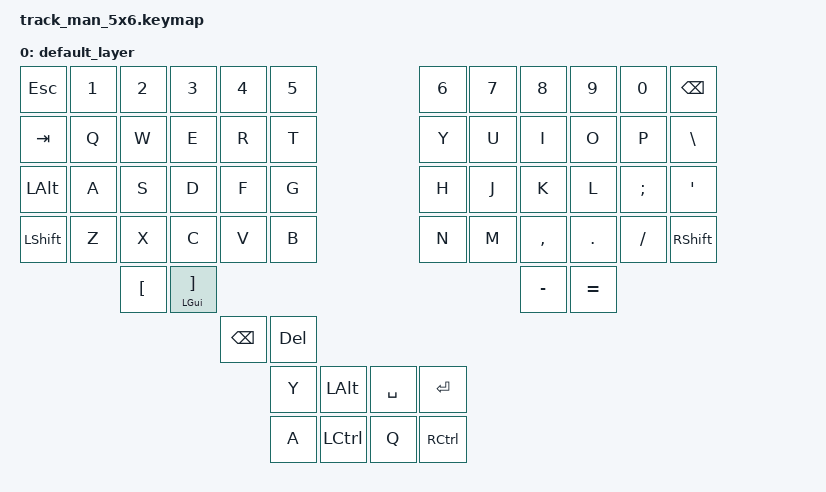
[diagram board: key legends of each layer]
#include <behaviors.dtsi>
#include <dt-bindings/zmk/keys.h>
#include <dt-bindings/zmk/bt.h>
#include <dt-bindings/zmk/outputs.h>

#define DEFAULT 0
#define RAISE   1
#define LOWER   2

/ {
    keymap {
        compatible = "zmk,keymap";


//RC(0,0) RC(0,1) RC(0,2) RC(0,3) RC(0,4) RC(0,5)                   RC(0,11) RC(0,10) RC(0,9) RC(0,8) RC(0,7) RC(0,6)
//RC(1,0) RC(1,1) RC(1,2) RC(1,3) RC(1,4) RC(1,5)                   RC(1,11) RC(1,10) RC(1,9) RC(1,8) RC(1,7) RC(1,6)
//RC(2,0) RC(2,1) RC(2,2) RC(2,3) RC(2,4) RC(2,5)                   RC(2,11) RC(2,10) RC(2,9) RC(2,8) RC(2,7) RC(2,6)
//RC(3,0) RC(3,1) RC(3,2) RC(3,3) RC(3,4) RC(3,5)                   RC(3,11) RC(3,10) RC(3,9) RC(3,8) RC(3,7) RC(3,6)
//                RC(4,2) RC(4,3)                                                     RC(4,9) RC(4,8)
//                                RC(4,4) RC(4,5) //                                        RC(5,4) RC(5,5)  RC(5,11) RC(5,10)
//                                        RC(5,2) RC(5,3)  RC(5,8)  RC(5,9)

        default_layer {
// Commented layout is not actual layout.
// -------------------------------------------------------------------------------------------------------------------------
// |   ESC   |    1    |    2    |    3    |    4    |    5    |                   |    6    |    7    |    8    |    9    |    0    |  BSPC   |
// |   TAB   |    Q    |    W    |    E    |    R    |    T    |                   |    Y    |    U    |    I    |    O    |    P    |    \    |
// |  LALT   |    A    |    S    |    D    |    F    |    G    |                   |    H    |    J    |    K    |    L    |    ;    |    '    |
// |  LCTRL  |    Z    |    X    |    C    |    V    |    B    |                   |    N    |    M    |    ,    |    .    |    /    |  RALT   |
//                     |    [    |    ]    |                                                           |    -    |    =    |
//                               | MO lay 1| SPACE   |                   | ENTER   | MO lay 2|
//                                         |   TAB   |   HOME  |   END   |   DEL   |
//                                         |  Raise  |    ~    |   GUI   |  Lower  |
            bindings = <
&kp ESC    &kp N1     &kp N2    &kp N3     &kp N4     &kp N5                          &kp N6     &kp N7     &kp N8     &kp N9     &kp N0         &kp BSPC
&kp TAB    &kp Q      &kp W     &kp E      &kp R      &kp T                           &kp Y      &kp U      &kp I      &kp O      &kp P          &kp BSLH
&kp LALT   &kp A      &kp S     &kp D      &kp F      &kp G                           &kp H      &kp J      &kp K      &kp L      &kp SEMI       &kp SQT
&kp LSHIFT &kp Z      &kp X     &kp C      &kp V      &kp B                           &kp N      &kp M      &kp COMMA  &kp DOT    &kp FSLH       &kp RSHIFT
                      &kp LBKT  &mt LGUI RBKT                                                               &kp MINUS  &kp EQUAL
                                           &kp BSPC   &kp DEL
                                                      &kp Y  &kp LALT     &kp SPACE   &kp RET
                                                      &kp A  &kp LCTRL    &kp Q       &kp RCTRL
            >;
        };

//        raise {
//// commented layout is not actual layout.
//// -------------------------------------------------------------------------------------------------------------------------
//// |   esc   |    1    |    2    |    3    |    4    |    5    |                   |    6    |    7    |    8    |    9    |    0    |  bspc   |
//// |   tab   |    q    |    w    |    e    |    r    |    t    |                   |    y    |    u    |    i    |    o    |    p    |    \    |
//// |  lalt   |    a    |    s    |    d    |    f    |    g    |                   |    h    |    j    |    k    |    l    |    ;    |    '    |
//// |  lctrl  |    z    |    x    |    c    |    v    |    b    |                   |    n    |    m    |    ,    |    .    |    /    |  ralt   |
////                     |    [    |    ]    |                                                           |    -    |    =    |
////                               | mo lay 1| space   |                   | enter   | mo lay 2|
////                                         |   tab   |   home  |   end   |   del   |
////                                         |  raise  |    ~    |   gui   |  lower  |
//            bindings = <
//&bt BT_SEL 0 &kp F1     &kp F2    &kp F3     &kp F4     &kp F5                          &kp F6        &kp F7     &kp F8     &kp F9     &kp F10        &kp F11
//&bt BT_NXT   &trans     &trans    &trans     &trans     &kp LBKT                        &kp RBKT      &kp 7      &kp 8      &kp 9      &trans         &kp F12
//&bt BT_PRV   &kp HOME   &kp PG_UP &kp PG_DN  &kp END    &kp LPAR                        &kp RPAR      &kp 4      &kp 5      &kp 6      &kp MINUS      &kp PIPE
//&bt BT_CLR   &trans     &trans    &trans     &trans     &reset                          &bootloader   &kp 1      &kp 2      &kp 3      &kp FSLH       &kp UNDER
//                        &trans    &kp PSCRN                                                                      &trans     &trans
//                                             &trans     &trans                          &trans        &trans
//                                                        &trans &trans            &trans &trans
//                                                        &trans &trans            &trans &trans
//            >;
//        };
//
//        lower {
//// commented layout is not actual layout.
//// -------------------------------------------------------------------------------------------------------------------------
//// |   esc   |    1    |    2    |    3    |    4    |    5    |                   |    6    |    7    |    8    |    9    |    0    |  bspc   |
//// |   tab   |    q    |    w    |    e    |    r    |    t    |                   |    y    |    u    |    i    |    o    |    p    |    \    |
//// |  lalt   |    a    |    s    |    d    |    f    |    g    |                   |    h    |    j    |    k    |    l    |    ;    |    '    |
//// |  lctrl  |    z    |    x    |    c    |    v    |    b    |                   |    n    |    m    |    ,    |    .    |    /    |  ralt   |
////                     |    [    |    ]    |                                                           |    -    |    =    |
////                               | mo lay 1| space   |                   | enter   | mo lay 2|
////                                         |   tab   |   home  |   end   |   del   |
////                                         |  raise  |    ~    |   gui   |  lower  |
//            bindings = <
//&kp GRAVE  &kp F1     &kp F2     &kp F3     &kp F4     &kp F5                          &kp F6     &kp F7     &kp F8     &kp F9     &kp F10     &kp F11
//&trans     &trans     &kp K_PREV &kp K_PP   &kp K_NEXT &kp C_VOL_UP                    &kp K_CALC &kp KP_NUM &kp INS    &kp SLCK   &trans      &kp F12
//&trans     &kp LEFT   &kp UP     &kp DOWN   &kp RIGHT  &kp C_VOL_DN                    &trans     &kp H      &kp J      &kp K      &kp L       &trans
//&trans     &trans     &trans     &trans     &trans     &kp C_MUTE                      &trans     &trans     &trans     &trans     &trans      &trans
//                      &trans  &trans                                                              &trans     &trans
//                                             &trans  &trans                 &trans   &trans
//                                                      &trans &trans   &trans    &trans
//                                                      &trans &trans   &trans    &trans
//            >;
//        };
   };
};
